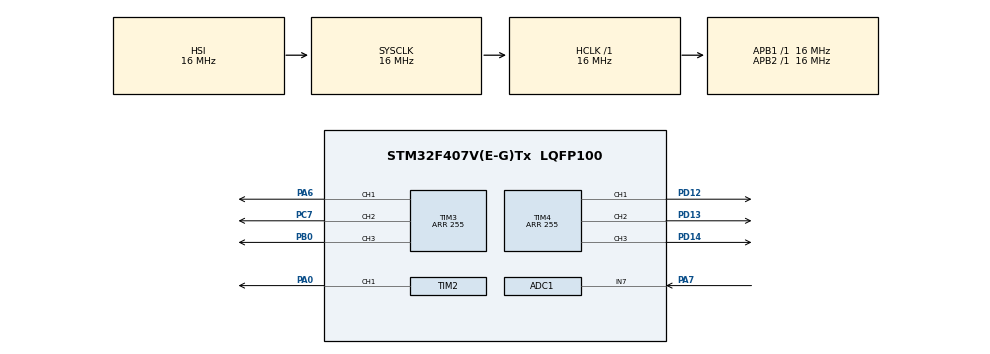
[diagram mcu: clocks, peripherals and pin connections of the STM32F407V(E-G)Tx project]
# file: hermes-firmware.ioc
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ADC1.Channel-3\#ChannelRegularConversion=ADC_CHANNEL_7
ADC1.NbrOfConversionFlag=1
ADC1.master=1
Mcu.Family=STM32F4
Mcu.Name=STM32F407V(E-G)Tx
Mcu.Package=LQFP100
NVIC.PriorityGroup=NVIC_PRIORITYGROUP_4
PA0-WKUP.Signal=S_TIM2_CH1_ETR
PA6.Signal=S_TIM3_CH1
PA7.Signal=ADCx_IN7
PB0.Signal=S_TIM3_CH3
PC7.Signal=S_TIM3_CH2
PD12.Signal=S_TIM4_CH1
PD13.Signal=S_TIM4_CH2
PD14.Signal=S_TIM4_CH3
PH0-OSC_IN.Mode=HSE-External-Oscillator
PH0-OSC_IN.Signal=RCC_OSC_IN
PH1-OSC_OUT.Mode=HSE-External-Oscillator
PH1-OSC_OUT.Signal=RCC_OSC_OUT
ProjectManager.HeapSize=0x200
ProjectManager.StackSize=0x400
ProjectManager.TargetToolchain=STM32CubeIDE
RCC.48MHZClocksFreq_Value=48000000
RCC.AHBFreq_Value=16000000
RCC.APB1Freq_Value=16000000
RCC.APB1TimFreq_Value=16000000
RCC.APB2Freq_Value=16000000
RCC.APB2TimFreq_Value=16000000
RCC.CortexFreq_Value=16000000
RCC.HCLKFreq_Value=16000000
RCC.HSE_VALUE=25000000
RCC.HSI_VALUE=16000000
RCC.LSE_VALUE=32768
RCC.SYSCLKFreq_VALUE=16000000
RCC.VCOOutputFreq_Value=192000000
SH.ADCx_IN7.0=ADC1_IN7,IN7
SH.S_TIM2_CH1_ETR.0=TIM2_CH1,PWM Generation1 CH1
SH.S_TIM3_CH1.0=TIM3_CH1,PWM Generation1 CH1
SH.S_TIM3_CH2.0=TIM3_CH2,PWM Generation2 CH2
SH.S_TIM3_CH3.0=TIM3_CH3,PWM Generation3 CH3
SH.S_TIM4_CH1.0=TIM4_CH1,PWM Generation1 CH1
SH.S_TIM4_CH2.0=TIM4_CH2,PWM Generation2 CH2
SH.S_TIM4_CH3.0=TIM4_CH3,PWM Generation3 CH3
TIM2.AutoReloadPreload=TIM_AUTORELOAD_PRELOAD_DISABLE
TIM2.Channel-PWM\ Generation1\ CH1=TIM_CHANNEL_1
TIM2.Period=100-1
TIM2.Prescaler=16-1
TIM3.AutoReloadPreload=TIM_AUTORELOAD_PRELOAD_ENABLE
TIM3.Channel-Output\ Compare4\ No\ Output=TIM_CHANNEL_4
TIM3.Channel-PWM\ Generation1\ CH1=TIM_CHANNEL_1
TIM3.Channel-PWM\ Generation2\ CH2=TIM_CHANNEL_2
TIM3.Channel-PWM\ Generation3\ CH3=TIM_CHANNEL_3
TIM3.CounterMode=TIM_COUNTERMODE_CENTERALIGNED3
TIM3.OCMode_4=TIM_OCMODE_ACTIVE
TIM3.OCPolarity_1=TIM_OCPOLARITY_LOW
TIM3.OCPolarity_2=TIM_OCPOLARITY_LOW
TIM3.OCPolarity_3=TIM_OCPOLARITY_LOW
TIM3.Period=255
TIM3.TIM_MasterOutputTrigger=TIM_TRGO_ENABLE
TIM4.AutoReloadPreload=TIM_AUTORELOAD_PRELOAD_ENABLE
TIM4.Channel-PWM\ Generation1\ CH1=TIM_CHANNEL_1
TIM4.Channel-PWM\ Generation2\ CH2=TIM_CHANNEL_2
TIM4.Channel-PWM\ Generation3\ CH3=TIM_CHANNEL_3
TIM4.CounterMode=TIM_COUNTERMODE_CENTERALIGNED3
TIM4.OCPolarity_1=TIM_OCPOLARITY_HIGH
TIM4.OCPolarity_2=TIM_OCPOLARITY_HIGH
TIM4.OCPolarity_3=TIM_OCPOLARITY_HIGH
TIM4.Period=255
TIM4.TIM_MasterSlaveMode=TIM_MASTERSLAVEMODE_DISABLE
VP_TIM1_VS_ClockSourceINT.Mode=Internal
VP_TIM2_VS_ClockSourceINT.Mode=Internal
VP_TIM3_VS_ClockSourceINT.Mode=Internal
VP_TIM3_VS_no_output4.Mode=Output Compare4 No Output
VP_TIM4_VS_ClockSourceINT.Mode=Internal
VP_TIM4_VS_ClockSourceITR.Mode=TriggerSource_ITR2
VP_TIM4_VS_ControllerModeTrigger.Mode=Trigger Mode
board=custom

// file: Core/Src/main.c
/* USER CODE BEGIN Header */
/**
  ******************************************************************************
  * @file           : main.c
  * @brief          : Main program body
  ******************************************************************************
  * @attention
  *
  * Copyright (c) 2023 STMicroelectronics.
  * All rights reserved.
  *
  * This software is licensed under terms that can be found in the LICENSE file
  * in the root directory of this software component.
  * If no LICENSE file comes with this software, it is provided AS-IS.
  *
  ******************************************************************************
  */
/* USER CODE END Header */
#include "main.h"

/* USER CODE BEGIN Includes */
#include "svpwm.h"
#include "transforms.h"
#include "adc.h"
/* USER CODE END Includes */

/* USER CODE BEGIN PTD */
#define ADC_BUF_LEN 4096
/* USER CODE END PTD */

ADC_HandleTypeDef hadc1;

TIM_HandleTypeDef htim1;
TIM_HandleTypeDef htim2;
TIM_HandleTypeDef htim3;
TIM_HandleTypeDef htim4;

void SystemClock_Config(void);
static void MX_GPIO_Init(void);
static void MX_TIM1_Init(void);
static void MX_ADC1_Init(void);
static void MX_TIM2_Init(void);
static void MX_TIM3_Init(void);
static void MX_TIM4_Init(void);

int main(void)
{

  /* MCU Configuration--------------------------------------------------------*/

  /* Reset of all peripherals, Initializes the Flash interface and the Systick. */
  HAL_Init();

  /* Configure the system clock */
  SystemClock_Config();

  /* Initialize all configured peripherals */
  MX_GPIO_Init();
  MX_TIM1_Init();
  MX_ADC1_Init();
  MX_TIM2_Init();
  MX_TIM3_Init();
  MX_TIM4_Init();
  /* USER CODE BEGIN 2 */
    float Fcounter = 16000000;
	float Valpha = 0, Vbeta = 0, Vd = 0, Vq = 0;
	float Ta = 0, Tb = 0, Tc = 0;
	float Ts = TIM3->ARR / Fcounter;
	float motor_angle = 0, prev_motor_angle = 0; // rad
	float target_velocity = 0; // rad/s
	float sample_time = 2*Ts; // time for 1 full switching cycle
	svpwm_start(&htim3, &htim4);
  /* USER CODE END 2 */

  /* Infinite loop */
  /* USER CODE BEGIN WHILE */
	while(1)
	{
	target_velocity = Poll_ADC(hadc1)/128;
	motor_angle = prev_motor_angle + target_velocity * sample_time;
	Vq = VDC * MMAX;
	InvPark_Transform(&Vd, &Vq, &motor_angle, &Valpha, &Vbeta);
	svpwm_calc(Ts, Valpha, Vbeta, &Ta, &Tb, &Tc);
	svpwm_apply(&htim3, &htim4, Fcounter, Ta, Tb, Tc);
	prev_motor_angle = motor_angle;
	}
    /* USER CODE END WHILE */

}

void SystemClock_Config(void)
{
  RCC_OscInitTypeDef RCC_OscInitStruct = {0};
  RCC_ClkInitTypeDef RCC_ClkInitStruct = {0};

  /** Configure the main internal regulator output voltage
  */
  __HAL_RCC_PWR_CLK_ENABLE();
  __HAL_PWR_VOLTAGESCALING_CONFIG(PWR_REGULATOR_VOLTAGE_SCALE1);

  /** Initializes the RCC Oscillators according to the specified parameters
  * in the RCC_OscInitTypeDef structure.
  */
  RCC_OscInitStruct.OscillatorType = RCC_OSCILLATORTYPE_HSI;
  RCC_OscInitStruct.HSIState = RCC_HSI_ON;
  RCC_OscInitStruct.HSICalibrationValue = RCC_HSICALIBRATION_DEFAULT;
  RCC_OscInitStruct.PLL.PLLState = RCC_PLL_NONE;
  if (HAL_RCC_OscConfig(&RCC_OscInitStruct) != HAL_OK)
  {
    Error_Handler();
  }

  /** Initializes the CPU, AHB and APB buses clocks
  */
  RCC_ClkInitStruct.ClockType = RCC_CLOCKTYPE_HCLK|RCC_CLOCKTYPE_SYSCLK
                              |RCC_CLOCKTYPE_PCLK1|RCC_CLOCKTYPE_PCLK2;
  RCC_ClkInitStruct.SYSCLKSource = RCC_SYSCLKSOURCE_HSI;
  RCC_ClkInitStruct.AHBCLKDivider = RCC_SYSCLK_DIV1;
  RCC_ClkInitStruct.APB1CLKDivider = RCC_HCLK_DIV1;
  RCC_ClkInitStruct.APB2CLKDivider = RCC_HCLK_DIV1;

  if (HAL_RCC_ClockConfig(&RCC_ClkInitStruct, FLASH_LATENCY_0) != HAL_OK)
  {
    Error_Handler();
  }
}

static void MX_ADC1_Init(void)
{

  ADC_ChannelConfTypeDef sConfig = {0};

  /** Configure the global features of the ADC (Clock, Resolution, Data Alignment and number of conversion)
  */
  hadc1.Instance = ADC1;
  hadc1.Init.ClockPrescaler = ADC_CLOCK_SYNC_PCLK_DIV2;
  hadc1.Init.Resolution = ADC_RESOLUTION_12B;
  hadc1.Init.ScanConvMode = DISABLE;
  hadc1.Init.ContinuousConvMode = DISABLE;
  hadc1.Init.DiscontinuousConvMode = DISABLE;
  hadc1.Init.ExternalTrigConvEdge = ADC_EXTERNALTRIGCONVEDGE_NONE;
  hadc1.Init.ExternalTrigConv = ADC_SOFTWARE_START;
  hadc1.Init.DataAlign = ADC_DATAALIGN_RIGHT;
  hadc1.Init.NbrOfConversion = 1;
  hadc1.Init.DMAContinuousRequests = DISABLE;
  hadc1.Init.EOCSelection = ADC_EOC_SINGLE_CONV;
  if (HAL_ADC_Init(&hadc1) != HAL_OK)
  {
    Error_Handler();
  }

  /** Configure for the selected ADC regular channel its corresponding rank in the sequencer and its sample time.
  */
  sConfig.Channel = ADC_CHANNEL_7;
  sConfig.Rank = 1;
  sConfig.SamplingTime = ADC_SAMPLETIME_3CYCLES;
  if (HAL_ADC_ConfigChannel(&hadc1, &sConfig) != HAL_OK)
  {
    Error_Handler();
  }

}

static void MX_TIM1_Init(void)
{

  TIM_ClockConfigTypeDef sClockSourceConfig = {0};
  TIM_MasterConfigTypeDef sMasterConfig = {0};

  htim1.Instance = TIM1;
  htim1.Init.Prescaler = 0;
  htim1.Init.CounterMode = TIM_COUNTERMODE_UP;
  htim1.Init.Period = 65535;
  htim1.Init.ClockDivision = TIM_CLOCKDIVISION_DIV1;
  htim1.Init.RepetitionCounter = 0;
  htim1.Init.AutoReloadPreload = TIM_AUTORELOAD_PRELOAD_DISABLE;
  if (HAL_TIM_Base_Init(&htim1) != HAL_OK)
  {
    Error_Handler();
  }
  sClockSourceConfig.ClockSource = TIM_CLOCKSOURCE_INTERNAL;
  if (HAL_TIM_ConfigClockSource(&htim1, &sClockSourceConfig) != HAL_OK)
  {
    Error_Handler();
  }
  sMasterConfig.MasterOutputTrigger = TIM_TRGO_RESET;
  sMasterConfig.MasterSlaveMode = TIM_MASTERSLAVEMODE_DISABLE;
  if (HAL_TIMEx_MasterConfigSynchronization(&htim1, &sMasterConfig) != HAL_OK)
  {
    Error_Handler();
  }

}

static void MX_TIM2_Init(void)
{

  TIM_ClockConfigTypeDef sClockSourceConfig = {0};
  TIM_MasterConfigTypeDef sMasterConfig = {0};
  TIM_OC_InitTypeDef sConfigOC = {0};

  htim2.Instance = TIM2;
  htim2.Init.Prescaler = 16-1;
  htim2.Init.CounterMode = TIM_COUNTERMODE_UP;
  htim2.Init.Period = 100-1;
  htim2.Init.ClockDivision = TIM_CLOCKDIVISION_DIV1;
  htim2.Init.AutoReloadPreload = TIM_AUTORELOAD_PRELOAD_DISABLE;
  if (HAL_TIM_Base_Init(&htim2) != HAL_OK)
  {
    Error_Handler();
  }
  sClockSourceConfig.ClockSource = TIM_CLOCKSOURCE_INTERNAL;
  if (HAL_TIM_ConfigClockSource(&htim2, &sClockSourceConfig) != HAL_OK)
  {
    Error_Handler();
  }
  if (HAL_TIM_PWM_Init(&htim2) != HAL_OK)
  {
    Error_Handler();
  }
  sMasterConfig.MasterOutputTrigger = TIM_TRGO_RESET;
  sMasterConfig.MasterSlaveMode = TIM_MASTERSLAVEMODE_DISABLE;
  if (HAL_TIMEx_MasterConfigSynchronization(&htim2, &sMasterConfig) != HAL_OK)
  {
    Error_Handler();
  }
  sConfigOC.OCMode = TIM_OCMODE_PWM1;
  sConfigOC.Pulse = 0;
  sConfigOC.OCPolarity = TIM_OCPOLARITY_HIGH;
  sConfigOC.OCFastMode = TIM_OCFAST_DISABLE;
  if (HAL_TIM_PWM_ConfigChannel(&htim2, &sConfigOC, TIM_CHANNEL_1) != HAL_OK)
  {
    Error_Handler();
  }
  HAL_TIM_MspPostInit(&htim2);

}

static void MX_TIM3_Init(void)
{

  TIM_ClockConfigTypeDef sClockSourceConfig = {0};
  TIM_MasterConfigTypeDef sMasterConfig = {0};
  TIM_OC_InitTypeDef sConfigOC = {0};

  htim3.Instance = TIM3;
  htim3.Init.Prescaler = 0;
  htim3.Init.CounterMode = TIM_COUNTERMODE_CENTERALIGNED3;
  htim3.Init.Period = 255;
  htim3.Init.ClockDivision = TIM_CLOCKDIVISION_DIV1;
  htim3.Init.AutoReloadPreload = TIM_AUTORELOAD_PRELOAD_ENABLE;
  if (HAL_TIM_Base_Init(&htim3) != HAL_OK)
  {
    Error_Handler();
  }
  sClockSourceConfig.ClockSource = TIM_CLOCKSOURCE_INTERNAL;
  if (HAL_TIM_ConfigClockSource(&htim3, &sClockSourceConfig) != HAL_OK)
  {
    Error_Handler();
  }
  if (HAL_TIM_PWM_Init(&htim3) != HAL_OK)
  {
    Error_Handler();
  }
  if (HAL_TIM_OC_Init(&htim3) != HAL_OK)
  {
    Error_Handler();
  }
  sMasterConfig.MasterOutputTrigger = TIM_TRGO_ENABLE;
  sMasterConfig.MasterSlaveMode = TIM_MASTERSLAVEMODE_DISABLE;
  if (HAL_TIMEx_MasterConfigSynchronization(&htim3, &sMasterConfig) != HAL_OK)
  {
    Error_Handler();
  }
  sConfigOC.OCMode = TIM_OCMODE_PWM1;
  sConfigOC.Pulse = 0;
  sConfigOC.OCPolarity = TIM_OCPOLARITY_LOW;
  sConfigOC.OCFastMode = TIM_OCFAST_DISABLE;
  if (HAL_TIM_PWM_ConfigChannel(&htim3, &sConfigOC, TIM_CHANNEL_1) != HAL_OK)
  {
    Error_Handler();
  }
  if (HAL_TIM_PWM_ConfigChannel(&htim3, &sConfigOC, TIM_CHANNEL_2) != HAL_OK)
  {
    Error_Handler();
  }
  if (HAL_TIM_PWM_ConfigChannel(&htim3, &sConfigOC, TIM_CHANNEL_3) != HAL_OK)
  {
    Error_Handler();
  }
  sConfigOC.OCMode = TIM_OCMODE_ACTIVE;
  sConfigOC.OCPolarity = TIM_OCPOLARITY_HIGH;
  if (HAL_TIM_OC_ConfigChannel(&htim3, &sConfigOC, TIM_CHANNEL_4) != HAL_OK)
  {
    Error_Handler();
  }
  HAL_TIM_MspPostInit(&htim3);

}

static void MX_TIM4_Init(void)
{

  TIM_ClockConfigTypeDef sClockSourceConfig = {0};
  TIM_SlaveConfigTypeDef sSlaveConfig = {0};
  TIM_MasterConfigTypeDef sMasterConfig = {0};
  TIM_OC_InitTypeDef sConfigOC = {0};

  htim4.Instance = TIM4;
  htim4.Init.Prescaler = 0;
  htim4.Init.CounterMode = TIM_COUNTERMODE_CENTERALIGNED3;
  htim4.Init.Period = 255;
  htim4.Init.ClockDivision = TIM_CLOCKDIVISION_DIV1;
  htim4.Init.AutoReloadPreload = TIM_AUTORELOAD_PRELOAD_ENABLE;
  if (HAL_TIM_Base_Init(&htim4) != HAL_OK)
  {
    Error_Handler();
  }
  sClockSourceConfig.ClockSource = TIM_CLOCKSOURCE_INTERNAL;
  if (HAL_TIM_ConfigClockSource(&htim4, &sClockSourceConfig) != HAL_OK)
  {
    Error_Handler();
  }
  if (HAL_TIM_PWM_Init(&htim4) != HAL_OK)
  {
    Error_Handler();
  }
  sSlaveConfig.SlaveMode = TIM_SLAVEMODE_TRIGGER;
  sSlaveConfig.InputTrigger = TIM_TS_ITR2;
  if (HAL_TIM_SlaveConfigSynchro(&htim4, &sSlaveConfig) != HAL_OK)
  {
    Error_Handler();
  }
  sMasterConfig.MasterOutputTrigger = TIM_TRGO_RESET;
  sMasterConfig.MasterSlaveMode = TIM_MASTERSLAVEMODE_DISABLE;
  if (HAL_TIMEx_MasterConfigSynchronization(&htim4, &sMasterConfig) != HAL_OK)
  {
    Error_Handler();
  }
  sConfigOC.OCMode = TIM_OCMODE_PWM1;
  sConfigOC.Pulse = 0;
  sConfigOC.OCPolarity = TIM_OCPOLARITY_HIGH;
  sConfigOC.OCFastMode = TIM_OCFAST_DISABLE;
  if (HAL_TIM_PWM_ConfigChannel(&htim4, &sConfigOC, TIM_CHANNEL_1) != HAL_OK)
  {
    Error_Handler();
  }
  if (HAL_TIM_PWM_ConfigChannel(&htim4, &sConfigOC, TIM_CHANNEL_2) != HAL_OK)
  {
    Error_Handler();
  }
  if (HAL_TIM_PWM_ConfigChannel(&htim4, &sConfigOC, TIM_CHANNEL_3) != HAL_OK)
  {
    Error_Handler();
  }
  HAL_TIM_MspPostInit(&htim4);

}

static void MX_GPIO_Init(void)
{

  /* GPIO Ports Clock Enable */
  __HAL_RCC_GPIOH_CLK_ENABLE();
  __HAL_RCC_GPIOA_CLK_ENABLE();
  __HAL_RCC_GPIOB_CLK_ENABLE();
  __HAL_RCC_GPIOD_CLK_ENABLE();
  __HAL_RCC_GPIOC_CLK_ENABLE();

}

void Error_Handler(void)
{
  __disable_irq();
  while (1)
  {
  }
}
